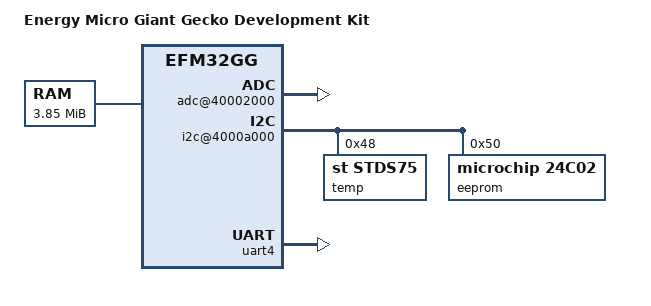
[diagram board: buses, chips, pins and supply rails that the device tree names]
/*
 * Device tree for EFM32GG-DK3750 development board.
 *
 * Documentation available from
 * http://www.silabs.com/Support%20Documents/TechnicalDocs/efm32gg-dk3750-ug.pdf
 */

/dts-v1/;
#include "efm32gg.dtsi"

/ {
	model = "Energy Micro Giant Gecko Development Kit";
	compatible = "efm32,dk3750";

	chosen {
		bootargs = "console=ttyefm4,115200 init=/linuxrc ignore_loglevel ihash_entries=64 dhash_entries=64 earlyprintk uclinux.physaddr=0x18400000 root=/dev/mtdblock0";
	};

	memory {
		reg = <0x16000000 0x3da000>;
	};

	soc {
		adc@40002000 {
			status = "ok";
		};

		i2c@4000a000 {
			location = <3>;
			status = "ok";

			temp@48 {
				compatible = "st,stds75";
				reg = <0x48>;
			};

			eeprom@50 {
				compatible = "microchip,24c02";
				reg = <0x50>;
				pagesize = <16>;
			};
		};

		uart4: uart@4000e400 { /* UART1 */
			location = <2>;
			status = "ok";
		};
	};

 	framebuffer {
		compatible = "dk3750_fb";
		reg = <0x84000000 0x4000000>;
 		width = <320>;
 		height = <240>;
		stride = <(320 * 2)>;
		format = "r5g6b5";
	};
};
